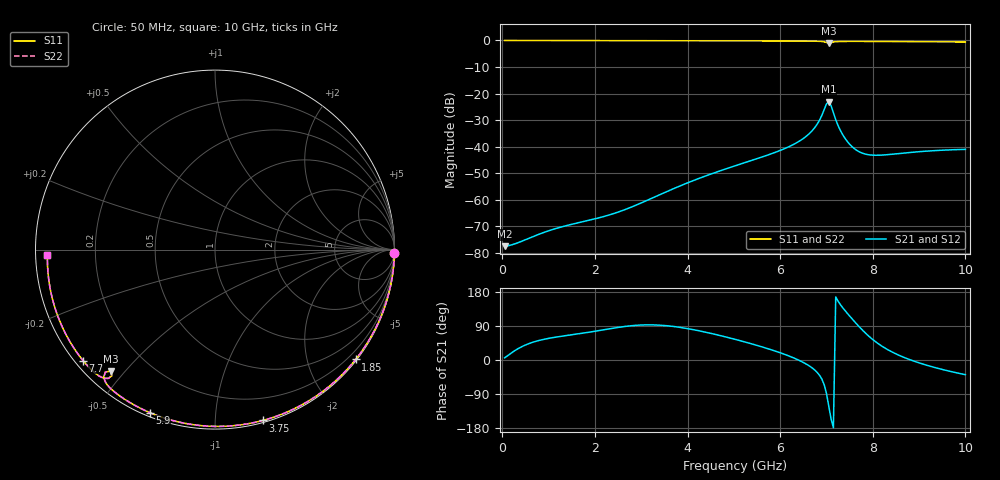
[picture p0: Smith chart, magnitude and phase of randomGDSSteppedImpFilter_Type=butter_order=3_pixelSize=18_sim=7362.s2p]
! freq	dB(S11)	phase(S11)	dB(S12)	phase(S12)
!  dB(S21)	phase(S21)	dB(S22)	phase(S22)
!S-par simulation data
#  GHz  S  DB  R 50
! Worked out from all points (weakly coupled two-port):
!   200 points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, 50 MHz to 10 GHz, reference 50 ohm
!   highest |S21| = -23.02 dB at 7.05 GHz (marker M1); lowest = -77.5 dB at 50 MHz (marker M2)
!   lowest |S11| = -1.0 dB at 7.05 GHz (marker M3), VSWR 17.53, Z = 3.45 - j22.9 ohm
!   |S11| at or under -10 dB: nowhere
!   |S22| runs from -1.0 to 0.0 dB; largest |S21 - S12| = 0
!   S11 on the Smith chart (normalised r, x): 50 MHz: open; 1.85 GHz: 0.03, -2.91; 3.75 GHz: 0.02, -1.32; 5.9 GHz: 0.02, -0.68; 7.7 GHz: 0.02, -0.36; 10 GHz: 0.03, -0.02
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0.05  -0.00 -1.0  -77.49 5.6  -77.49 5.6  -0.00 -1.0
0.85  -0.02 -17.7  -72.61 53.2  -72.61 53.2  -0.02 -17.7
1.75  -0.05 -36.0  -68.22 71.0  -68.22 71.0  -0.05 -36.0
1.85  -0.05 -38.0  -67.81 72.9  -67.81 72.9  -0.05 -38.0
2.55  -0.07 -51.7  -64.35 86.9  -64.35 86.9  -0.07 -51.7
3.4  -0.09 -67.9  -58.10 91.9  -58.10 91.9  -0.09 -67.9
3.75  -0.10 -74.3  -55.44 87.6  -55.44 87.6  -0.10 -74.3
5.05  -0.15 -97.4  -47.09 53.8  -47.09 53.8  -0.15 -97.3
5.9  -0.19 -111.8  -42.11 23.3  -42.11 23.3  -0.19 -111.8
6.4  -0.22 -120.3  -38.08 -0.3  -38.08 -0.3  -0.22 -120.2
6.7  -0.26 -125.6  -33.83 -21.7  -33.83 -21.7  -0.26 -125.6
6.85  -0.33 -128.7  -30.03 -40.3  -30.03 -40.3  -0.33 -128.7
6.95  -0.52 -131.1  -26.10 -64.8  -26.10 -64.8  -0.52 -131.1
7  -0.77 -131.9  -23.92 -88.0  -23.92 -88.0  -0.76 -131.8
7.05  -0.99 -130.6  -23.02 -122.2  -23.02 -122.2  -0.99 -130.6
7.15  -0.61 -129.7  -27.28 -178.5  -27.28 -178.5  -0.61 -129.6
7.35  -0.37 -133.8  -35.48 138.1  -35.48 138.1  -0.37 -133.8
7.5  -0.35 -136.5  -39.08 116.0  -39.08 116.0  -0.35 -136.5
7.7  -0.35 -140.0  -41.86 88.7  -41.86 88.7  -0.35 -139.9
7.95  -0.36 -144.1  -43.14 59.0  -43.14 59.0  -0.36 -144.1
8.35  -0.40 -150.7  -42.98 25.4  -42.98 25.4  -0.40 -150.6
10  -0.59 -178.1  -41.02 -38.7  -41.02 -38.7  -0.59 -178.0
